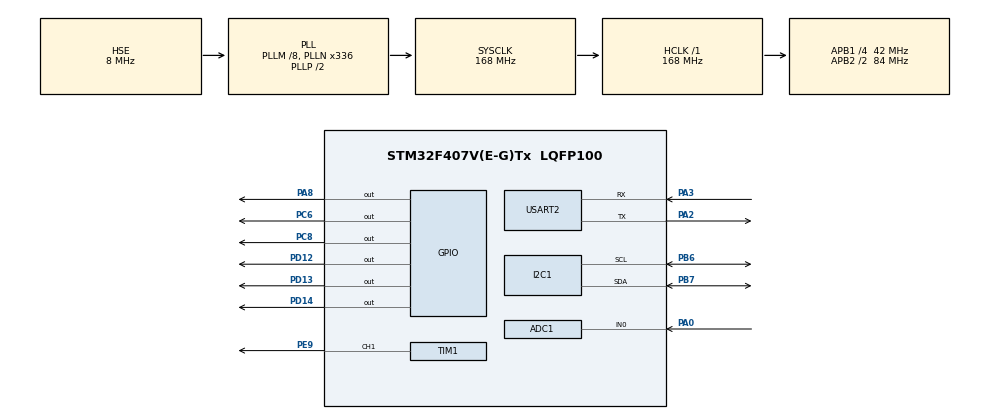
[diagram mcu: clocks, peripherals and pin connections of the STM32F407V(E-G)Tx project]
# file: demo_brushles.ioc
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ADC1.Channel-1\#ChannelRegularConversion=ADC_CHANNEL_0
ADC1.NbrOfConversionFlag=1
ADC1.Rank-1\#ChannelRegularConversion=1
ADC1.SamplingTime-1\#ChannelRegularConversion=ADC_SAMPLETIME_3CYCLES
ADC1.master=1
Mcu.Family=STM32F4
Mcu.Name=STM32F407V(E-G)Tx
Mcu.Package=LQFP100
NVIC.PriorityGroup=NVIC_PRIORITYGROUP_4
PA0-WKUP.Signal=ADCx_IN0
PA13.Mode=Serial_Wire
PA13.Signal=SYS_JTMS-SWDIO
PA14.Mode=Serial_Wire
PA14.Signal=SYS_JTCK-SWCLK
PA2.Mode=Asynchronous
PA2.Signal=USART2_TX
PA3.Mode=Asynchronous
PA3.Signal=USART2_RX
PA8.Signal=GPIO_Output
PB6.GPIO_Pu=GPIO_PULLUP
PB6.GPIO_Speed=GPIO_SPEED_FREQ_VERY_HIGH
PB6.Mode=I2C
PB6.Signal=I2C1_SCL
PB7.GPIO_Pu=GPIO_PULLUP
PB7.GPIO_Speed=GPIO_SPEED_FREQ_VERY_HIGH
PB7.Mode=I2C
PB7.Signal=I2C1_SDA
PC6.Signal=GPIO_Output
PC8.Signal=GPIO_Output
PD12.Signal=GPIO_Output
PD13.Signal=GPIO_Output
PD14.Signal=GPIO_Output
PE9.Signal=S_TIM1_CH1
PH0-OSC_IN.Mode=HSE-External-Oscillator
PH0-OSC_IN.Signal=RCC_OSC_IN
PH1-OSC_OUT.Mode=HSE-External-Oscillator
PH1-OSC_OUT.Signal=RCC_OSC_OUT
ProjectManager.HeapSize=0x200
ProjectManager.StackSize=0x400
ProjectManager.TargetToolchain=STM32CubeIDE
RCC.48MHZClocksFreq_Value=84000000
RCC.AHBFreq_Value=168000000
RCC.APB1CLKDivider=RCC_HCLK_DIV4
RCC.APB1Freq_Value=42000000
RCC.APB1TimFreq_Value=84000000
RCC.APB2CLKDivider=RCC_HCLK_DIV2
RCC.APB2Freq_Value=84000000
RCC.APB2TimFreq_Value=168000000
RCC.CortexFreq_Value=168000000
RCC.HCLKFreq_Value=168000000
RCC.HSE_VALUE=8000000
RCC.HSI_VALUE=16000000
RCC.LSE_VALUE=32768
RCC.PLLM=4
RCC.PLLN=168
RCC.PLLSourceVirtual=RCC_PLLSOURCE_HSE
RCC.SYSCLKFreq_VALUE=168000000
RCC.SYSCLKSource=RCC_SYSCLKSOURCE_PLLCLK
RCC.VCOOutputFreq_Value=336000000
SH.ADCx_IN0.0=ADC1_IN0,IN0
SH.S_TIM1_CH1.0=TIM1_CH1,PWM Generation1 CH1
TIM1.AutoReloadPreload=TIM_AUTORELOAD_PRELOAD_ENABLE
TIM1.Channel-PWM\ Generation1\ CH1=TIM_CHANNEL_1
TIM1.Period=64000-1
TIM1.Prescaler=167
USART2.VirtualMode=VM_ASYNC
VP_TIM1_VS_ClockSourceINT.Mode=Internal
board=custom

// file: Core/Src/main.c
/* USER CODE BEGIN Header */
/**
  ******************************************************************************
  * @file           : main.c
  * @brief          : ADC + ESC + MPU6050 + RGB LED
  *
  *                    STM32F407VGT6
  *
  ******************************************************************************
  */
/* USER CODE END Header */

#include "main.h"
#include "adc.h"
#include "i2c.h"
#include "tim.h"
#include "usart.h"
#include "gpio.h"

/* USER CODE BEGIN Includes */

#include "mpu6050.h"

#include <stdio.h>
#include <string.h>
#include <stdint.h>

/* USER CODE END Includes */

/* USER CODE BEGIN PD */

/* RGB LED
 *
 * RED   = PA8
 * GREEN = PC8
 * BLUE  = PC6
 *
 * Common cathode:
 * HIGH = ON
 * LOW  = OFF
 */

/* ADC thresholds */
#define ADC_BLUE_MAX       999U
#define ADC_GREEN_MAX      3000U

/* ESC limits */
#define ESC_MIN_US         1000U
#define ESC_MAX_US         1500U

/* USER CODE END PD */

/* USER CODE BEGIN PV */

MPU6050_t MPU6050;

uint32_t AD_RES = 0;

uint32_t ESC_Pulse = ESC_MIN_US;

uint8_t mpu_ok = 0;

uint8_t mpu_error = 0;

uint8_t motor_running = 0;

/* USER CODE END PV */

void SystemClock_Config(void);

/* USER CODE BEGIN PFP */

static void UART_Send_Text(const char *text);

static uint32_t ADC_Read(void);

static uint32_t ADC_To_ESC(uint32_t adc);

static void ESC_SetPulse(uint32_t pulse_us);

static void ESC_Arm(void);

static void RGB_SetColor(
    uint8_t red,
    uint8_t green,
    uint8_t blue
);

static void RGB_UpdateFromADC(uint32_t adc);

static void MPU_Diagnostic_Read(void);

static void Send_Status(void);

/* USER CODE END PFP */

/* USER CODE BEGIN 0 */

/* ========================================================================== */
/* UART                                                                       */
/* ========================================================================== */

static void UART_Send_Text(const char *text)
{
    HAL_UART_Transmit(
        &huart2,
        (uint8_t *)text,
        strlen(text),
        100
    );
}

/* ========================================================================== */
/* ADC                                                                        */
/* ========================================================================== */

static uint32_t ADC_Read(void)
{
    uint32_t value = 0;

    if (HAL_ADC_Start(&hadc1) != HAL_OK)
    {
        return 0;
    }

    if (HAL_ADC_PollForConversion(&hadc1, 100) == HAL_OK)
    {
        value = HAL_ADC_GetValue(&hadc1);
    }

    HAL_ADC_Stop(&hadc1);

    return value;
}

/* ========================================================================== */
/* ADC -> ESC                                                                 */
/* ========================================================================== */

static uint32_t ADC_To_ESC(uint32_t adc)
{
    uint32_t pulse;

    if (adc > 4095U)
    {
        adc = 4095U;
    }

    /*
     * ADC = 0
     *     -> 1000 us
     *
     * ADC = 4095
     *     -> 1500 us
     */

    pulse =
        ESC_MIN_US +
        ((adc * (ESC_MAX_US - ESC_MIN_US)) / 4095U);

    return pulse;
}

/* ========================================================================== */
/* ESC PWM                                                                    */
/* ========================================================================== */

static void ESC_SetPulse(uint32_t pulse_us)
{
    if (pulse_us < ESC_MIN_US)
    {
        pulse_us = ESC_MIN_US;
    }

    if (pulse_us > ESC_MAX_US)
    {
        pulse_us = ESC_MAX_US;
    }

    ESC_Pulse = pulse_us;

    __HAL_TIM_SET_COMPARE(
        &htim1,
        TIM_CHANNEL_1,
        pulse_us
    );

    if (pulse_us > 1050U)
    {
        motor_running = 1;
    }
    else
    {
        motor_running = 0;
    }
}

/* ========================================================================== */
/* ESC ARMING                                                                 */
/* ========================================================================== */

static void ESC_Arm(void)
{
    UART_Send_Text(
        "\r\n"
        "========================================\r\n"
        "              ESC ARMING\r\n"
        "========================================\r\n"
    );

    ESC_SetPulse(ESC_MIN_US);

    UART_Send_Text(
        "ESC = 1000 us\r\n"
    );

    HAL_Delay(5000);

    UART_Send_Text(
        "ESC ARMING DONE\r\n"
    );

    UART_Send_Text(
        "========================================\r\n"
    );
}

/* ========================================================================== */
/* RGB LED                                                                    */
/* ========================================================================== */

static void RGB_SetColor(
    uint8_t red,
    uint8_t green,
    uint8_t blue
)
{
    /* RED = PA8 */

    HAL_GPIO_WritePin(
        GPIOA,
        GPIO_PIN_8,
        red ? GPIO_PIN_SET : GPIO_PIN_RESET
    );

    /* GREEN = PC8 */

    HAL_GPIO_WritePin(
        GPIOC,
        GPIO_PIN_8,
        green ? GPIO_PIN_SET : GPIO_PIN_RESET
    );

    /* BLUE = PC6 */

    HAL_GPIO_WritePin(
        GPIOC,
        GPIO_PIN_6,
        blue ? GPIO_PIN_SET : GPIO_PIN_RESET
    );
}

/* ========================================================================== */
/* RGB FROM ADC                                                               */
/* ========================================================================== */

static void RGB_UpdateFromADC(uint32_t adc)
{
    /*
     * ADC < 1000
     *     -> BLUE
     *
     * ADC 1000 ... 3000
     *     -> GREEN
     *
     * ADC > 3000
     *     -> RED
     */

    if (adc < 1000U)
    {
        RGB_SetColor(
            0,
            0,
            1
        );
    }
    else if (adc <= 3000U)
    {
        RGB_SetColor(
            0,
            1,
            0
        );
    }
    else
    {
        RGB_SetColor(
            1,
            0,
            0
        );
    }
}

/* ========================================================================== */
/* MPU6050 DIAGNOSTIC                                                         */
/* ========================================================================== */

static void MPU_Diagnostic_Read(void)
{
    uint8_t who_am_i = 0;
    uint8_t pwr = 0;
    uint8_t sample = 0;
    uint8_t config = 0;
    uint8_t gyro_config = 0;
    uint8_t accel_config = 0;

    char msg[300];

    /* WHO_AM_I */

    if (HAL_I2C_Mem_Read(
            &hi2c1,
            MPU6050_ADDR,
            WHO_AM_I_REG,
            I2C_MEMADD_SIZE_8BIT,
            &who_am_i,
            1,
            100
        ) != HAL_OK)
    {
        UART_Send_Text(
            "WHO_AM_I READ ERROR\r\n"
        );

        return;
    }

    /* PWR_MGMT_1 */

    HAL_I2C_Mem_Read(
        &hi2c1,
        MPU6050_ADDR,
        PWR_MGMT_1_REG,
        I2C_MEMADD_SIZE_8BIT,
        &pwr,
        1,
        100
    );

    /* SMPLRT_DIV */

    HAL_I2C_Mem_Read(
        &hi2c1,
        MPU6050_ADDR,
        SMPLRT_DIV_REG,
        I2C_MEMADD_SIZE_8BIT,
        &sample,
        1,
        100
    );

    /* CONFIG */

    HAL_I2C_Mem_Read(
        &hi2c1,
        MPU6050_ADDR,
        CONFIG_REG,
        I2C_MEMADD_SIZE_8BIT,
        &config,
        1,
        100
    );

    /* GYRO_CONFIG */

    HAL_I2C_Mem_Read(
        &hi2c1,
        MPU6050_ADDR,
        GYRO_CONFIG_REG,
        I2C_MEMADD_SIZE_8BIT,
        &gyro_config,
        1,
        100
    );

    /* ACCEL_CONFIG */

    HAL_I2C_Mem_Read(
        &hi2c1,
        MPU6050_ADDR,
        ACCEL_CONFIG_REG,
        I2C_MEMADD_SIZE_8BIT,
        &accel_config,
        1,
        100
    );

    snprintf(
        msg,
        sizeof(msg),

        "\r\n"
        "========== MPU6050 DIAGNOSTIC ==========\r\n"
        "WHO_AM_I     = 0x%02X\r\n"
        "PWR_MGMT_1   = 0x%02X\r\n"
        "SMPLRT_DIV   = 0x%02X\r\n"
        "CONFIG       = 0x%02X\r\n"
        "GYRO_CONFIG  = 0x%02X\r\n"
        "ACCEL_CONFIG = 0x%02X\r\n"
        "=========================================\r\n",

        who_am_i,
        pwr,
        sample,
        config,
        gyro_config,
        accel_config
    );

    UART_Send_Text(msg);
}

/* ========================================================================== */
/* UART STATUS                                                                */
/* ========================================================================== */

static void Send_Status(void)
{
    char msg[500];

    if (mpu_ok)
    {
        /*
         * Ax, Ay, Az sont en g.
         * Conversion en mg :
         *
         * 1 g = 1000 mg
         */

        double Ax_mg = MPU6050.Ax * 1000.0;
        double Ay_mg = MPU6050.Ay * 1000.0;
        double Az_mg = MPU6050.Az * 1000.0;

        snprintf(
            msg,
            sizeof(msg),

            "ADC=%lu | "
            "ESC=%lu us | "
            "MOTOR=%d | "
            "RGB=%s\r\n"

            "ACC: "
            "X=%.0f mg | "
            "Y=%.0f mg | "
            "Z=%.0f mg\r\n"

            "GYRO: "
            "X=%.2f deg/s | "
            "Y=%.2f deg/s | "
            "Z=%.2f deg/s\r\n"

            "TEMP=%.2f C | "
            "ROLL=%.2f deg | "
            "PITCH=%.2f deg\r\n"

            "RAW ACC: "
            "X=%d | "
            "Y=%d | "
            "Z=%d\r\n"

            "----------------------------------------\r\n",

            (unsigned long)AD_RES,

            (unsigned long)ESC_Pulse,

            motor_running,

            (AD_RES < 1000U)
                ? "BLUE"
                : ((AD_RES <= 3000U)
                    ? "GREEN"
                    : "RED"),

            Ax_mg,
            Ay_mg,
            Az_mg,

            MPU6050.Gx,
            MPU6050.Gy,
            MPU6050.Gz,

            MPU6050.Temperature,

            MPU6050.KalmanAngleX,
            MPU6050.KalmanAngleY,

            MPU6050.Accel_X_RAW,
            MPU6050.Accel_Y_RAW,
            MPU6050.Accel_Z_RAW
        );
    }
    else
    {
        snprintf(
            msg,
            sizeof(msg),

            "ADC=%lu | "
            "MPU ERROR=%u | "
            "ESC=%lu us | "
            "MOTOR=%d | "
            "RGB=%s\r\n",

            (unsigned long)AD_RES,

            mpu_error,

            (unsigned long)ESC_Pulse,

            motor_running,

            (AD_RES < 1000U)
                ? "BLUE"
                : ((AD_RES <= 3000U)
                    ? "GREEN"
                    : "RED")
        );
    }

    UART_Send_Text(msg);
}

/* USER CODE END 0 */

int main(void)
{

    /* MCU Configuration--------------------------------------------------------*/

    HAL_Init();

    SystemClock_Config();

    /* Initialize all configured peripherals */

    MX_GPIO_Init();

    MX_ADC1_Init();

    MX_I2C1_Init();

    MX_TIM1_Init();

    MX_USART2_UART_Init();

    /* USER CODE BEGIN 2 */

    HAL_Delay(500);

    UART_Send_Text(
        "\r\n"
        "========================================\r\n"
        "          STM32F407VGT6\r\n"
        "========================================\r\n"
        "      ADC + ESC + MPU6050 + RGB\r\n"
        "========================================\r\n"
    );

    /* RGB startup = BLUE */

    RGB_SetColor(
        0,
        0,
        1
    );

    UART_Send_Text(
        "RGB = BLUE\r\n"
    );

    /* Start TIM1 PWM */

    if (HAL_TIM_PWM_Start(
            &htim1,
            TIM_CHANNEL_1
        ) != HAL_OK)
    {
        UART_Send_Text(
            "ERROR: TIM1 PWM START\r\n"
        );

        Error_Handler();
    }

    UART_Send_Text(
        "TIM1 PWM OK\r\n"
    );

    /* ESC arming */

    ESC_Arm();

    /* MPU6050 */

    UART_Send_Text(
        "Initializing MPU6050...\r\n"
    );

    mpu_error = MPU6050_Init(&hi2c1);

    if (mpu_error == 0)
    {
        mpu_ok = 1;

        UART_Send_Text(
            "MPU6050 READY\r\n"
        );

        UART_Send_Text(
            "ACCEL = mg\r\n"
        );
    }
    else
    {
        mpu_ok = 0;

        UART_Send_Text(
            "MPU6050 ERROR\r\n"
        );

        MPU_Diagnostic_Read();
    }

    /* ESC initial value */

    ESC_SetPulse(
        ESC_MIN_US
    );

    /* USER CODE END 2 */

    /* Infinite loop */

    while (1)
    {

        /* USER CODE BEGIN 3 */

        /* Read ADC */

        AD_RES = ADC_Read();

        /* Update RGB */

        RGB_UpdateFromADC(
            AD_RES
        );

        /* ADC -> ESC */

        ESC_Pulse = ADC_To_ESC(
            AD_RES
        );

        ESC_SetPulse(
            ESC_Pulse
        );

        /* Read MPU6050 */

        if (mpu_ok)
        {
            MPU6050_Read_All(
                &hi2c1,
                &MPU6050
            );
        }

        /* UART */

        Send_Status();

        HAL_Delay(100);

        /* USER CODE END 3 */
    }
}

void SystemClock_Config(void)
{
    RCC_OscInitTypeDef RCC_OscInitStruct = {0};

    RCC_ClkInitTypeDef RCC_ClkInitStruct = {0};

    __HAL_RCC_PWR_CLK_ENABLE();

    __HAL_PWR_VOLTAGESCALING_CONFIG(
        PWR_REGULATOR_VOLTAGE_SCALE1
    );

    RCC_OscInitStruct.OscillatorType =
        RCC_OSCILLATORTYPE_HSE;

    RCC_OscInitStruct.HSEState =
        RCC_HSE_ON;

    RCC_OscInitStruct.PLL.PLLState =
        RCC_PLL_ON;

    RCC_OscInitStruct.PLL.PLLSource =
        RCC_PLLSOURCE_HSE;

    RCC_OscInitStruct.PLL.PLLM =
        8;

    RCC_OscInitStruct.PLL.PLLN =
        336;

    RCC_OscInitStruct.PLL.PLLP =
        RCC_PLLP_DIV2;

    RCC_OscInitStruct.PLL.PLLQ =
        7;

    if (HAL_RCC_OscConfig(
            &RCC_OscInitStruct
        ) != HAL_OK)
    {
        Error_Handler();
    }

    RCC_ClkInitStruct.ClockType =
        RCC_CLOCKTYPE_HCLK |
        RCC_CLOCKTYPE_SYSCLK |
        RCC_CLOCKTYPE_PCLK1 |
        RCC_CLOCKTYPE_PCLK2;

    RCC_ClkInitStruct.SYSCLKSource =
        RCC_SYSCLKSOURCE_PLLCLK;

    RCC_ClkInitStruct.AHBCLKDivider =
        RCC_SYSCLK_DIV1;

    RCC_ClkInitStruct.APB1CLKDivider =
        RCC_HCLK_DIV4;

    RCC_ClkInitStruct.APB2CLKDivider =
        RCC_HCLK_DIV2;

    if (HAL_RCC_ClockConfig(
            &RCC_ClkInitStruct,
            FLASH_LATENCY_5
        ) != HAL_OK)
    {
        Error_Handler();
    }
}

void Error_Handler(void)
{
    /* USER CODE BEGIN Error_Handler_Debug */

    __HAL_TIM_SET_COMPARE(
        &htim1,
        TIM_CHANNEL_1,
        ESC_MIN_US
    );

    __disable_irq();

    while (1)
    {
    }

    /* USER CODE END Error_Handler_Debug */
}

#ifdef USE_FULL_ASSERT

/**
  * @brief  Reports the name of the source file and the source line number
  *         where the assert_param error has occurred.
  */
void assert_failed(
    uint8_t *file,
    uint32_t line
)
{
    /* USER CODE BEGIN 6 */

    (void)file;
    (void)line;

    /* USER CODE END 6 */
}

#endif
